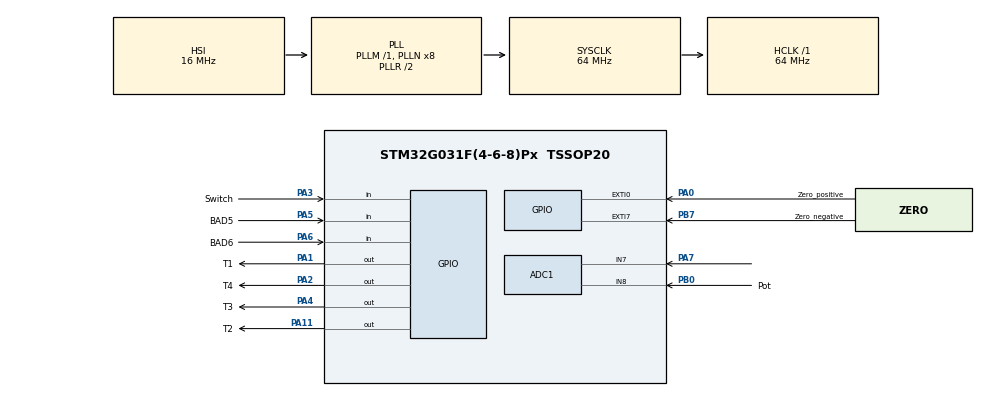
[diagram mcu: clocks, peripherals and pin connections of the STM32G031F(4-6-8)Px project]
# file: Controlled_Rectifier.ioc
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ADC1.Channel-10\#ChannelRegularConversion=ADC_CHANNEL_8
ADC1.Channel-8\#ChannelRegularConversion=ADC_CHANNEL_7
ADC1.ClockPrescaler=ADC_CLOCK_SYNC_PCLK_DIV4
ADC1.ContinuousConvMode=DISABLE
ADC1.DMAContinuousRequests=ENABLE
ADC1.ExternalTrigConv=ADC_EXTERNALTRIG_T3_TRGO
ADC1.NbrOfConversion=2
ADC1.NbrOfConversionFlag=1
ADC1.OversamplingMode=ENABLE
ADC1.Rank-10\#ChannelRegularConversion=2
ADC1.Rank-8\#ChannelRegularConversion=1
ADC1.Ratio=ADC_OVERSAMPLING_RATIO_128
ADC1.RightBitShift=ADC_RIGHTBITSHIFT_4
ADC1.SamplingTime-10\#ChannelRegularConversion=ADC_SAMPLINGTIME_COMMON_1
ADC1.SamplingTime-8\#ChannelRegularConversion=ADC_SAMPLINGTIME_COMMON_1
ADC1.SamplingTimeCommon1=ADC_SAMPLETIME_19CYCLES_5
ADC1.SamplingTimeCommon2=ADC_SAMPLETIME_19CYCLES_5
ADC1.SelectedChannel=ADC_CHANNEL_7|ADC_CHANNEL_8
ADC1.Sequencer=FULLY_CONFIGURABLE
ADC1.master=1
Dma.ADC1.0.Direction=DMA_PERIPH_TO_MEMORY
Dma.ADC1.0.EventEnable=DISABLE
Dma.ADC1.0.Instance=DMA1_Channel1
Dma.ADC1.0.MemDataAlignment=DMA_MDATAALIGN_HALFWORD
Dma.ADC1.0.MemInc=DMA_MINC_ENABLE
Dma.ADC1.0.Mode=DMA_CIRCULAR
Dma.ADC1.0.PeriphDataAlignment=DMA_PDATAALIGN_HALFWORD
Dma.ADC1.0.PeriphInc=DMA_PINC_DISABLE
Dma.ADC1.0.Polarity=HAL_DMAMUX_REQ_GEN_RISING
Dma.ADC1.0.Priority=DMA_PRIORITY_LOW
Dma.ADC1.0.RequestNumber=1
Dma.ADC1.0.SignalID=NONE
Dma.ADC1.0.SyncEnable=DISABLE
Dma.ADC1.0.SyncPolarity=HAL_DMAMUX_SYNC_NO_EVENT
Dma.ADC1.0.SyncRequestNumber=1
Dma.ADC1.0.SyncSignalID=NONE
Dma.Request0=ADC1
Mcu.Family=STM32G0
Mcu.Name=STM32G031F(4-6-8)Px
Mcu.Package=TSSOP20
NVIC.DMA1_Channel1_IRQn=true\:2\:0\:true\:false\:true\:false\:true\:true
NVIC.EXTI0_1_IRQn=true\:0\:0\:true\:false\:true\:true\:true\:true
NVIC.EXTI4_15_IRQn=true\:0\:0\:false\:false\:true\:true\:true\:true
NVIC.TIM1_BRK_UP_TRG_COM_IRQn=true\:2\:0\:true\:false\:true\:true\:true\:true
PA0.GPIO_Label=Zero_positive
PA0.GPIO_ModeDefaultEXTI=GPIO_MODE_IT_FALLING
PA0.GPIO_PuPd=GPIO_PULLUP
PA0.Signal=GPXTI0
PA1.GPIO_Label=T1
PA1.GPIO_PuPd=GPIO_PULLUP
PA1.GPIO_Speed=GPIO_SPEED_FREQ_LOW
PA1.PinState=GPIO_PIN_SET
PA1.Signal=GPIO_Output
PA11\ [PA9].GPIO_Label=T2
PA11\ [PA9].GPIO_PuPd=GPIO_PULLUP
PA11\ [PA9].PinState=GPIO_PIN_SET
PA11\ [PA9].Signal=GPIO_Output
PA13.Mode=Serial_Wire
PA13.Signal=SYS_SWDIO
PA14-BOOT0.Mode=Serial_Wire
PA14-BOOT0.Signal=SYS_SWCLK
PA14-BOOT0__PA15.StandardMode=true
PA2.GPIO_Label=T4
PA2.GPIO_PuPd=GPIO_PULLUP
PA2.GPIO_Speed=GPIO_SPEED_FREQ_LOW
PA2.PinState=GPIO_PIN_SET
PA2.Signal=GPIO_Output
PA3.GPIO_Label=Switch
PA3.GPIO_PuPd=GPIO_PULLDOWN
PA3.Signal=GPIO_Input
PA4.GPIO_Label=T3
PA4.GPIO_PuPd=GPIO_PULLUP
PA4.PinState=GPIO_PIN_SET
PA4.Signal=GPIO_Output
PA5.GPIO_Label=BAD5
PA5.Signal=GPIO_Input
PA6.GPIO_Label=BAD6
PA6.Signal=GPIO_Input
PA7.Mode=IN7
PA7.Signal=ADC1_IN7
PB0.GPIO_Label=Pot
PB0.Mode=IN8
PB0.Signal=ADC1_IN8
PB0__PB1__PB2__PA8.StandardMode=true
PB3__PB4__PB5__PB6.StandardMode=true
PB7.GPIO_Label=Zero_negative
PB7.GPIO_ModeDefaultEXTI=GPIO_MODE_IT_FALLING
PB7.GPIO_PuPd=GPIO_PULLUP
PB7.Signal=GPXTI7
PB7__PB8.StandardMode=true
PC14-OSC32_IN\ (PC14).Mode=LSE-External-Oscillator
PC14-OSC32_IN\ (PC14).Signal=RCC_OSC32_IN
PC14-OSC32_IN\ (PC14)__PB9.StandardMode=true
PC15-OSC32_OUT\ (PC15).Mode=LSE-External-Oscillator
PC15-OSC32_OUT\ (PC15).Signal=RCC_OSC32_OUT
ProjectManager.HeapSize=0x200
ProjectManager.StackSize=0x400
ProjectManager.TargetToolchain=STM32CubeIDE
RCC.ADCFreq_Value=64000000
RCC.AHBFreq_Value=64000000
RCC.CortexFreq_Value=64000000
RCC.EXTERNAL_CLOCK_VALUE=12288000
RCC.HCLKFreq_Value=64000000
RCC.HSE_VALUE=8000000
RCC.HSI_VALUE=16000000
RCC.SYSCLKFreq_VALUE=64000000
RCC.SYSCLKSource=RCC_SYSCLKSOURCE_PLLCLK
RCC.VCOOutputFreq_Value=128000000
STMicroelectronics.X-CUBE-ALGOBUILD.1.3.0.LibraryCcDSPOoLibraryJjDSPOoLibrary=true
TIM1.Period=10000-1
TIM1.Prescaler=6400-1
TIM3.Period=1000-1
TIM3.Prescaler=64-1
TIM3.TIM_MasterOutputTrigger=TIM_TRGO_UPDATE
VP_STMicroelectronics.X-CUBE-ALGOBUILD_VS_DSPOoLibraryJjLibrary_1.3.0_1.3.0.Mode=DSPOoLibraryJjLibrary
VP_TIM1_VS_ClockSourceINT.Mode=Internal
VP_TIM3_VS_ClockSourceINT.Mode=Internal
board=custom

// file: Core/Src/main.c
/* USER CODE BEGIN Header */
/**
  ******************************************************************************
  * @file           : main.c
  * @brief          : Main program body
  ******************************************************************************
  * @attention
  *
  * Copyright (c) 2024 STMicroelectronics.
  * All rights reserved.
  *
  * This software is licensed under terms that can be found in the LICENSE file
  * in the root directory of this software component.
  * If no LICENSE file comes with this software, it is provided AS-IS.
  *
  ******************************************************************************
  */
/* USER CODE END Header */
#include "main.h"

/* USER CODE BEGIN Includes */
#include "pid.h"		//подключаем файл ПИ-регулятора
#include "arm_math.h"	//подключаем файл математики
/* USER CODE END Includes */

/* USER CODE BEGIN PD */
#define ON GPIO_PIN_SET		//макроопределения для выходов
#define OFF GPIO_PIN_RESET
/* USER CODE END PD */

ADC_HandleTypeDef hadc1;
DMA_HandleTypeDef hdma_adc1;

TIM_HandleTypeDef htim1;
TIM_HandleTypeDef htim3;

/* USER CODE BEGIN PV */
float32_t sensitivity = 0.1f; 		// Чувствительность 0.1 для 20A модуля, 0,185 для 5А, 0,066 для 30А
volatile uint16_t adcData[2] = {0,};// Массив для сбора данных двух каналов АЦП
float32_t rawVoltage = 0.0f; 		// Предварительно измеренное значение напряжения от датчика
float32_t Current = 0.0f;			// Расчётное значение тока
float32_t Current_filtr = 0.0f;		// Фильтрованное значение тока (скользящее среднее)
float32_t targetCurrent = 0.0f; 	// Задание на ток
uint16_t Pot_filtr = 0;				// Фильтрованное светлое

volatile uint16_t Alpha = 0;		// Угол открывания тиристоров альфа
uint16_t maxAlpha = 23e3;			// Максимальный угол альфа 180 градусов или 10мС
volatile uint16_t Pulse = 6e3;		// Длительность импульса

volatile uint8_t flag_irq_pos = 0;	// Флаг окончания прерывания положительного полупериода
volatile uint8_t flag_irq_neg = 0;	// Флаг окончания прерывания отрицательного полупериода
volatile uint32_t time_irq = 0;		// Время обработки прерывания

/* USER CODE END PV */

void SystemClock_Config(void);
static void MX_GPIO_Init(void);
static void MX_DMA_Init(void);
static void MX_ADC1_Init(void);
static void MX_TIM3_Init(void);
static void MX_TIM1_Init(void);

int main(void)
{

  /* MCU Configuration--------------------------------------------------------*/

  /* Reset of all peripherals, Initializes the Flash interface and the Systick. */
  HAL_Init();

  /* Configure the system clock */
  SystemClock_Config();

  /* Initialize all configured peripherals */
  MX_GPIO_Init();
  MX_DMA_Init();
  MX_ADC1_Init();
  MX_TIM3_Init();
  MX_TIM1_Init();
  /* USER CODE BEGIN 2 */
  PID_init();
  HAL_ADCEx_Calibration_Start(&hadc1);				 // калибровка АЦП
  HAL_ADC_Start_DMA(&hadc1, (uint32_t *)&adcData, 2);// запуск АЦП в режиме DMA (0 ячейка ток, 1 ячейка потенциометр)
  HAL_TIM_Base_Start(&htim3);						 // запуск таймера для АЦП

  /* USER CODE END 2 */

  /* Infinite loop */
  /* USER CODE BEGIN WHILE */
	while (1) {

		if (flag_irq_pos && (HAL_GetTick() - time_irq) > 5) {	// условие активации прерывания

			NVIC_ClearPendingIRQ(EXTI0_1_IRQn);					// очищаем бит NVIC_ICPRx

			__HAL_GPIO_EXTI_CLEAR_FALLING_IT(Zero_positive_Pin);// очищаем ножку

			HAL_NVIC_EnableIRQ(EXTI0_1_IRQn);					// включаем внешнее прерывание

			flag_irq_pos = 0;									// опускаем флаг

		}

		if (flag_irq_neg && (HAL_GetTick() - time_irq) > 5) {

			NVIC_ClearPendingIRQ(EXTI4_15_IRQn);

			__HAL_GPIO_EXTI_CLEAR_FALLING_IT(Zero_negative_Pin);

			HAL_NVIC_EnableIRQ(EXTI4_15_IRQn);

			flag_irq_neg = 0;

		}

		if (GPIOA->IDR & GPIO_IDR_ID3) {	// Переключатель режима авто/ручной

			Alpha = Pot_filtr; 				//Задание от потенциометра
		}
		else {
			targetCurrent = Pot_filtr * 0.0003055f;	// Уставка тока от потенциометра до 4А
			Alpha = 1.21f * (10000U - PID_realize(targetCurrent, Current_filtr)); //после ПИ регулятора
			// домноженный на коэффициент максимального угла (в данный момент ограничение для индуктивной нагрузки 90)
		}

    /* USER CODE END WHILE */

	}
}

void SystemClock_Config(void)
{
  RCC_OscInitTypeDef RCC_OscInitStruct = {0};
  RCC_ClkInitTypeDef RCC_ClkInitStruct = {0};

  /** Configure the main internal regulator output voltage
  */
  HAL_PWREx_ControlVoltageScaling(PWR_REGULATOR_VOLTAGE_SCALE1);

  /** Initializes the RCC Oscillators according to the specified parameters
  * in the RCC_OscInitTypeDef structure.
  */
  RCC_OscInitStruct.OscillatorType = RCC_OSCILLATORTYPE_HSI;
  RCC_OscInitStruct.HSIState = RCC_HSI_ON;
  RCC_OscInitStruct.HSIDiv = RCC_HSI_DIV1;
  RCC_OscInitStruct.HSICalibrationValue = RCC_HSICALIBRATION_DEFAULT;
  RCC_OscInitStruct.PLL.PLLState = RCC_PLL_ON;
  RCC_OscInitStruct.PLL.PLLSource = RCC_PLLSOURCE_HSI;
  RCC_OscInitStruct.PLL.PLLM = RCC_PLLM_DIV1;
  RCC_OscInitStruct.PLL.PLLN = 8;
  RCC_OscInitStruct.PLL.PLLP = RCC_PLLP_DIV2;
  RCC_OscInitStruct.PLL.PLLQ = RCC_PLLQ_DIV2;
  RCC_OscInitStruct.PLL.PLLR = RCC_PLLR_DIV2;
  if (HAL_RCC_OscConfig(&RCC_OscInitStruct) != HAL_OK)
  {
    Error_Handler();
  }

  /** Initializes the CPU, AHB and APB buses clocks
  */
  RCC_ClkInitStruct.ClockType = RCC_CLOCKTYPE_HCLK|RCC_CLOCKTYPE_SYSCLK
                              |RCC_CLOCKTYPE_PCLK1;
  RCC_ClkInitStruct.SYSCLKSource = RCC_SYSCLKSOURCE_PLLCLK;
  RCC_ClkInitStruct.AHBCLKDivider = RCC_SYSCLK_DIV1;
  RCC_ClkInitStruct.APB1CLKDivider = RCC_HCLK_DIV1;

  if (HAL_RCC_ClockConfig(&RCC_ClkInitStruct, FLASH_LATENCY_2) != HAL_OK)
  {
    Error_Handler();
  }
}

static void MX_ADC1_Init(void)
{

  ADC_ChannelConfTypeDef sConfig = {0};

  /** Configure the global features of the ADC (Clock, Resolution, Data Alignment and number of conversion)
  */
  hadc1.Instance = ADC1;
  hadc1.Init.ClockPrescaler = ADC_CLOCK_SYNC_PCLK_DIV4;
  hadc1.Init.Resolution = ADC_RESOLUTION_12B;
  hadc1.Init.DataAlign = ADC_DATAALIGN_RIGHT;
  hadc1.Init.ScanConvMode = ADC_SCAN_ENABLE;
  hadc1.Init.EOCSelection = ADC_EOC_SINGLE_CONV;
  hadc1.Init.LowPowerAutoWait = DISABLE;
  hadc1.Init.LowPowerAutoPowerOff = DISABLE;
  hadc1.Init.ContinuousConvMode = DISABLE;
  hadc1.Init.NbrOfConversion = 2;
  hadc1.Init.DiscontinuousConvMode = DISABLE;
  hadc1.Init.ExternalTrigConv = ADC_EXTERNALTRIG_T3_TRGO;
  hadc1.Init.ExternalTrigConvEdge = ADC_EXTERNALTRIGCONVEDGE_RISING;
  hadc1.Init.DMAContinuousRequests = ENABLE;
  hadc1.Init.Overrun = ADC_OVR_DATA_PRESERVED;
  hadc1.Init.SamplingTimeCommon1 = ADC_SAMPLETIME_19CYCLES_5;
  hadc1.Init.SamplingTimeCommon2 = ADC_SAMPLETIME_19CYCLES_5;
  hadc1.Init.OversamplingMode = ENABLE;
  hadc1.Init.Oversampling.Ratio = ADC_OVERSAMPLING_RATIO_128;
  hadc1.Init.Oversampling.RightBitShift = ADC_RIGHTBITSHIFT_4;
  hadc1.Init.Oversampling.TriggeredMode = ADC_TRIGGEREDMODE_SINGLE_TRIGGER;
  hadc1.Init.TriggerFrequencyMode = ADC_TRIGGER_FREQ_HIGH;
  if (HAL_ADC_Init(&hadc1) != HAL_OK)
  {
    Error_Handler();
  }

  /** Configure Regular Channel
  */
  sConfig.Channel = ADC_CHANNEL_7;
  sConfig.Rank = ADC_REGULAR_RANK_1;
  sConfig.SamplingTime = ADC_SAMPLINGTIME_COMMON_1;
  if (HAL_ADC_ConfigChannel(&hadc1, &sConfig) != HAL_OK)
  {
    Error_Handler();
  }

  /** Configure Regular Channel
  */
  sConfig.Channel = ADC_CHANNEL_8;
  sConfig.Rank = ADC_REGULAR_RANK_2;
  if (HAL_ADC_ConfigChannel(&hadc1, &sConfig) != HAL_OK)
  {
    Error_Handler();
  }

}

static void MX_TIM1_Init(void)
{

  TIM_ClockConfigTypeDef sClockSourceConfig = {0};
  TIM_MasterConfigTypeDef sMasterConfig = {0};

  htim1.Instance = TIM1;
  htim1.Init.Prescaler = 6400-1;
  htim1.Init.CounterMode = TIM_COUNTERMODE_UP;
  htim1.Init.Period = 10000-1;
  htim1.Init.ClockDivision = TIM_CLOCKDIVISION_DIV1;
  htim1.Init.RepetitionCounter = 0;
  htim1.Init.AutoReloadPreload = TIM_AUTORELOAD_PRELOAD_DISABLE;
  if (HAL_TIM_Base_Init(&htim1) != HAL_OK)
  {
    Error_Handler();
  }
  sClockSourceConfig.ClockSource = TIM_CLOCKSOURCE_INTERNAL;
  if (HAL_TIM_ConfigClockSource(&htim1, &sClockSourceConfig) != HAL_OK)
  {
    Error_Handler();
  }
  sMasterConfig.MasterOutputTrigger = TIM_TRGO_RESET;
  sMasterConfig.MasterOutputTrigger2 = TIM_TRGO2_RESET;
  sMasterConfig.MasterSlaveMode = TIM_MASTERSLAVEMODE_DISABLE;
  if (HAL_TIMEx_MasterConfigSynchronization(&htim1, &sMasterConfig) != HAL_OK)
  {
    Error_Handler();
  }

}

static void MX_TIM3_Init(void)
{

  TIM_ClockConfigTypeDef sClockSourceConfig = {0};
  TIM_MasterConfigTypeDef sMasterConfig = {0};

  htim3.Instance = TIM3;
  htim3.Init.Prescaler = 64-1;
  htim3.Init.CounterMode = TIM_COUNTERMODE_UP;
  htim3.Init.Period = 1000-1;
  htim3.Init.ClockDivision = TIM_CLOCKDIVISION_DIV1;
  htim3.Init.AutoReloadPreload = TIM_AUTORELOAD_PRELOAD_DISABLE;
  if (HAL_TIM_Base_Init(&htim3) != HAL_OK)
  {
    Error_Handler();
  }
  sClockSourceConfig.ClockSource = TIM_CLOCKSOURCE_INTERNAL;
  if (HAL_TIM_ConfigClockSource(&htim3, &sClockSourceConfig) != HAL_OK)
  {
    Error_Handler();
  }
  sMasterConfig.MasterOutputTrigger = TIM_TRGO_UPDATE;
  sMasterConfig.MasterSlaveMode = TIM_MASTERSLAVEMODE_DISABLE;
  if (HAL_TIMEx_MasterConfigSynchronization(&htim3, &sMasterConfig) != HAL_OK)
  {
    Error_Handler();
  }

}

static void MX_DMA_Init(void)
{

  /* DMA controller clock enable */
  __HAL_RCC_DMA1_CLK_ENABLE();

  /* DMA interrupt init */
  /* DMA1_Channel1_IRQn interrupt configuration */
  HAL_NVIC_SetPriority(DMA1_Channel1_IRQn, 2, 0);
  HAL_NVIC_EnableIRQ(DMA1_Channel1_IRQn);

}

static void MX_GPIO_Init(void)
{
  GPIO_InitTypeDef GPIO_InitStruct = {0};

  /* GPIO Ports Clock Enable */
  __HAL_RCC_GPIOB_CLK_ENABLE();
  __HAL_RCC_GPIOC_CLK_ENABLE();
  __HAL_RCC_GPIOA_CLK_ENABLE();

  /*Configure GPIO pin Output Level */
  HAL_GPIO_WritePin(GPIOA, T1_Pin|T4_Pin|T3_Pin|T2_Pin, GPIO_PIN_SET);

  /*Configure GPIO pin : Zero_negative_Pin */
  GPIO_InitStruct.Pin = Zero_negative_Pin;
  GPIO_InitStruct.Mode = GPIO_MODE_IT_FALLING;
  GPIO_InitStruct.Pull = GPIO_PULLUP;
  HAL_GPIO_Init(Zero_negative_GPIO_Port, &GPIO_InitStruct);

  /*Configure GPIO pin : Zero_positive_Pin */
  GPIO_InitStruct.Pin = Zero_positive_Pin;
  GPIO_InitStruct.Mode = GPIO_MODE_IT_FALLING;
  GPIO_InitStruct.Pull = GPIO_PULLUP;
  HAL_GPIO_Init(Zero_positive_GPIO_Port, &GPIO_InitStruct);

  /*Configure GPIO pins : T1_Pin T4_Pin T3_Pin T2_Pin */
  GPIO_InitStruct.Pin = T1_Pin|T4_Pin|T3_Pin|T2_Pin;
  GPIO_InitStruct.Mode = GPIO_MODE_OUTPUT_PP;
  GPIO_InitStruct.Pull = GPIO_PULLUP;
  GPIO_InitStruct.Speed = GPIO_SPEED_FREQ_LOW;
  HAL_GPIO_Init(GPIOA, &GPIO_InitStruct);

  /*Configure GPIO pin : Switch_Pin */
  GPIO_InitStruct.Pin = Switch_Pin;
  GPIO_InitStruct.Mode = GPIO_MODE_INPUT;
  GPIO_InitStruct.Pull = GPIO_PULLDOWN;
  HAL_GPIO_Init(Switch_GPIO_Port, &GPIO_InitStruct);

  /*Configure GPIO pins : BAD5_Pin BAD6_Pin */
  GPIO_InitStruct.Pin = BAD5_Pin|BAD6_Pin;
  GPIO_InitStruct.Mode = GPIO_MODE_INPUT;
  GPIO_InitStruct.Pull = GPIO_NOPULL;
  HAL_GPIO_Init(GPIOA, &GPIO_InitStruct);

  /* EXTI interrupt init*/
  HAL_NVIC_SetPriority(EXTI0_1_IRQn, 0, 0);
  HAL_NVIC_EnableIRQ(EXTI0_1_IRQn);

  HAL_NVIC_SetPriority(EXTI4_15_IRQn, 0, 0);
  HAL_NVIC_EnableIRQ(EXTI4_15_IRQn);

}

/* USER CODE BEGIN 4 */

// ----------------------------Обратотка прерываний от точек перехода нуля------------------

void HAL_GPIO_EXTI_Falling_Callback(uint16_t GPIO_Pin) {
	if (GPIO_Pin == Zero_positive_Pin) {  // если прерывание пришло от положительной волны то:
		HAL_NVIC_DisableIRQ(EXTI0_1_IRQn);// сразу же отключаем прерывания на этом канале

		time_irq = HAL_GetTick();

		for (uint16_t var = 0; var < Alpha; ++var) __NOP(); // задержка угла альфа

//------Кому какие тиристоры включать смотреть по схеме--------------------------------------

		GPIOA->BRR |= GPIO_BRR_BR4|GPIO_BRR_BR2;			// включаем тиристоры Т3 и Т4

		//GPIOA->BRR |= GPIO_BRR_BR1 | GPIO_BRR_BR11;		// включаем тиристоры Т1 и Т2
		//HAL_GPIO_WritePin(GPIOA, T1_Pin | T2_Pin, OFF);	// вариант с HAL
		for (uint16_t var = 0; var < Pulse; ++var) __NOP(); // задержка длинны импульса

		GPIOA->BSRR |= GPIO_BSRR_BS4|GPIO_BSRR_BS2;			// выключаем тиристоры Т3 и Т4

		//GPIOA->BSRR |= GPIO_BSRR_BS1 | GPIO_BSRR_BS11;	// выключаем тиристоры Т1 иТ2
		//HAL_GPIO_WritePin(GPIOA, T1_Pin | T2_Pin, ON);	// вариант с HAL

		flag_irq_pos = 1;									// поднимаем флаг

	} else if (GPIO_Pin == Zero_negative_Pin) { //если прерывание пришло от отрицательной волны то:

		HAL_NVIC_DisableIRQ(EXTI4_15_IRQn);
		time_irq = HAL_GetTick();
		for (uint16_t var = 0; var < Alpha; ++var) __NOP();

		GPIOA->BRR |= GPIO_BRR_BR1 | GPIO_BRR_BR11;

		//GPIOA->BRR |= GPIO_BRR_BR4|GPIO_BRR_BR2;
		//HAL_GPIO_WritePin(GPIOA, T3_Pin | T4_Pin, OFF);
		for (uint16_t var = 0; var < Pulse; ++var) __NOP();

		GPIOA->BSRR |= GPIO_BSRR_BS1 | GPIO_BSRR_BS11;

		//GPIOA->BSRR |= GPIO_BSRR_BS4|GPIO_BSRR_BS2;
		//HAL_GPIO_WritePin(GPIOA, T3_Pin | T4_Pin, ON);
		flag_irq_neg = 1;

	} else {
		__NOP();
	}
}
//----------------------------------------------------------------------------------------------------

// ---------------------------------Обработка прерывания от DMA---------------------------------------

void HAL_ADC_ConvCpltCallback(ADC_HandleTypeDef *hadc) {
	/*
	 * Измеренное значение умножим на напряжение АЦП(3.3В), умножим на 2 (потому что делитель на входе),
	 * делим на максимальное число АЦП(сейчас у нас 2^15=32768 смотреть в свойствах АЦП Oversampling ratio)
	 * и домножим на погрежность резисторов (выяснить экспериментально сейчас 1,0099).
	 * Всё это посчитаем заранее ((3,3*2/32767)*1.0099 = 0,00020341624195074313)и получим напряжение.
	 * Далее из этого напряжения вычтем 2,5В и разделим на чувствительность датчика(вместо деления сделаем умножение),
	 * и получим наш ток.
	 */
	rawVoltage = (float32_t) adcData[0] * 0.00019940794091616566f;

	Current = (rawVoltage - 2.5f) * 10U;// измеренный ток ((rawVoltage - 2.5)/sensitivity = (rawVoltage - 2.5)*10)
	Current_filtr = (1U - 0.05f) * Current_filtr + 0.05f * Current;// фильтр (скользящее среднее)
	Pot_filtr = (1U - 0.1f) * Pot_filtr + 0.1f * (adcData[1] * 0.37f);// Фильтрованное значение потенциометра

}
//----------------------------------------------------------------------------------------------------

/* USER CODE END 4 */

void Error_Handler(void)
{
  __disable_irq();
  while (1)
  {
  }
}
